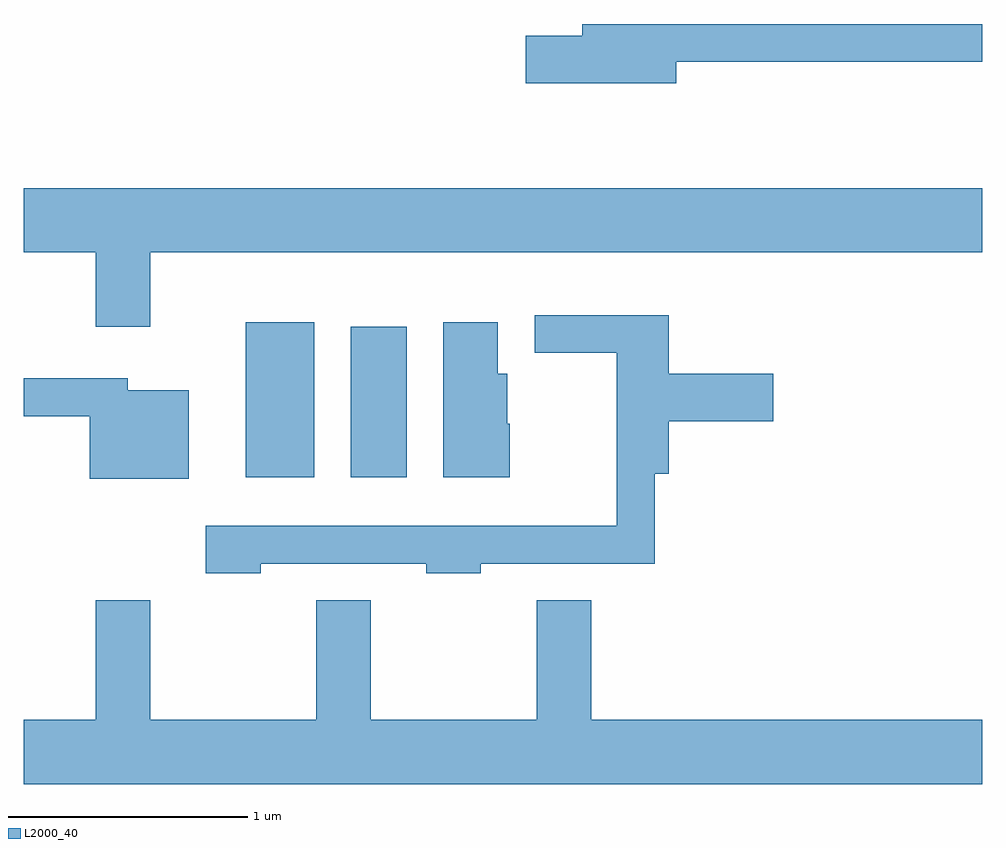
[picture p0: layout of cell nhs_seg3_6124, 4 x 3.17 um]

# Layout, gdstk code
import gdstk
lib = gdstk.Library(unit=1e-6, precision=1e-09)
def R(c, l, rs):  # rectangles x0, y0, x1, y1
    for r in rs: c.add(gdstk.rectangle(r[:2], r[2:], *l))
def P(c, l, *ps):  # polygons
    for p in ps: c.add(gdstk.Polygon(p, *l))
L2000_40 = (2000, 40)

nhs_seg3_6124 = lib.new_cell('nhs_seg3_6124')
R(nhs_seg3_6124, L2000_40, [(366.536,1133.956,366.824,1134.604), (366.976,1133.956,367.209,1134.584)])
P(nhs_seg3_6124, L2000_40, [(368.334,1135.691),(369.611,1135.691),(369.611,1135.849),(367.941,1135.849),(367.941,1135.799),(367.706,1135.799),(367.706,1135.601),(368.334,1135.601)],
  [(366.139,1134.896),(369.611,1134.896),(369.611,1135.164),(365.611,1135.164),(365.611,1134.896),(365.911,1134.896),(365.911,1134.586),(366.139,1134.586)],
  [(366.599,1133.596),(367.291,1133.596),(367.291,1133.556),(367.519,1133.556),(367.519,1133.596),(368.244,1133.596),(368.244,1133.971),(368.304,1133.971),(368.304,1134.191),(368.739,1134.191),(368.739,1134.389),(368.304,1134.389),(368.304,1134.634),(367.743,1134.634),(367.743,1134.476),(368.086,1134.476),(368.086,1133.754),(366.371,1133.754),(366.371,1133.556),(366.599,1133.556)],
  [(367.639,1134.18),(367.629,1134.18),(367.629,1134.389),(367.589,1134.389),(367.589,1134.604),(367.361,1134.604),(367.361,1133.956),(367.639,1133.956)],
  [(366.299,1134.319),(366.044,1134.319),(366.044,1134.369),(365.611,1134.369),(365.611,1134.211),(365.886,1134.211),(365.886,1133.951),(366.299,1133.951)],
  [(369.611,1132.944),(367.979,1132.944),(367.979,1133.444),(367.751,1133.444),(367.751,1132.944),(367.059,1132.944),(367.059,1133.444),(366.831,1133.444),(366.831,1132.944),(366.139,1132.944),(366.139,1133.444),(365.911,1133.444),(365.911,1132.944),(365.611,1132.944),(365.611,1132.676),(369.611,1132.676)])

lib.write_gds('nhs_seg3_6124.gds')
